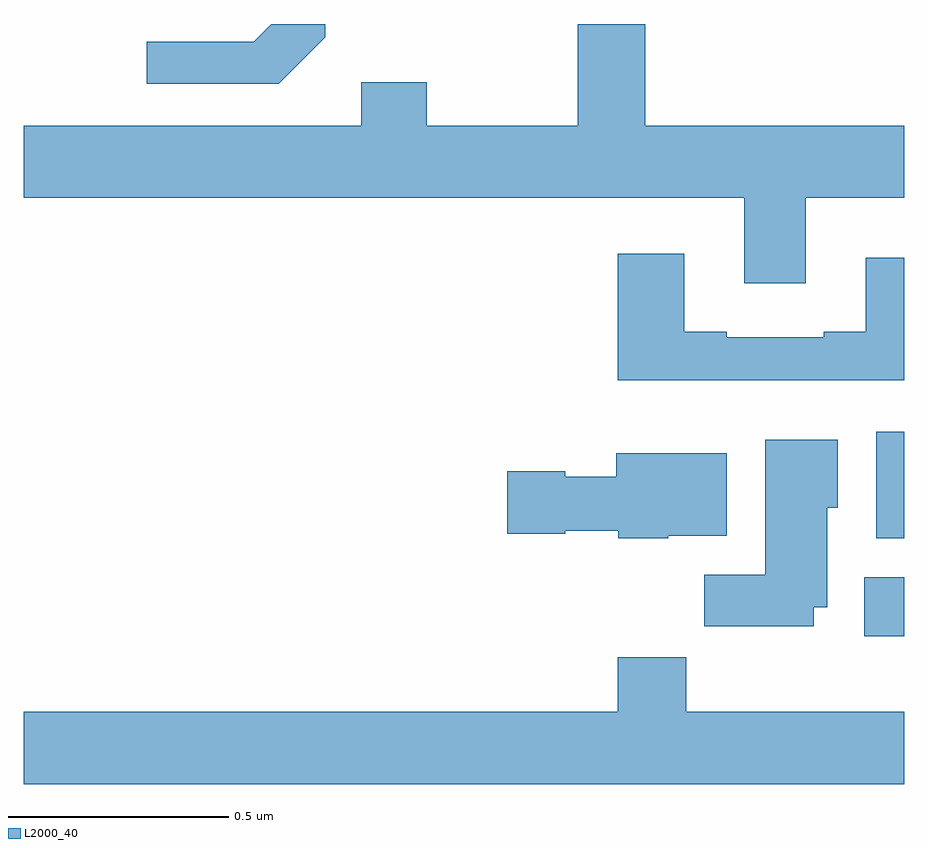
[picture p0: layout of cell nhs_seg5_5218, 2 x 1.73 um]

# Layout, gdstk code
import gdstk
lib = gdstk.Library(unit=1e-6, precision=1e-09)
def R(c, l, rs):  # rectangles x0, y0, x1, y1
    for r in rs: c.add(gdstk.rectangle(r[:2], r[2:], *l))
def P(c, l, *ps):  # polygons
    for p in ps: c.add(gdstk.Polygon(p, *l))
L2000_40 = (2000, 40)

nhs_seg5_5218 = lib.new_cell('nhs_seg5_5218')
R(nhs_seg5_5218, L2000_40, [(181.91,878.408,182,878.542), (181.937,878.63,182,878.872)])
P(nhs_seg5_5218, L2000_40, [(181.777,879.404),(182,879.404),(182,879.568),(181.412,879.568),(181.412,879.799),(181.259,879.799),(181.259,879.568),(180.915,879.568),(180.915,879.667),(180.767,879.667),(180.767,879.568),(180,879.568),(180,879.404),(181.637,879.404),(181.637,879.21),(181.777,879.21)],
  [(180.685,879.769),(180.685,879.799),(180.562,879.799),(180.522,879.759),(180.279,879.759),(180.279,879.663),(180.579,879.663)],
  [(182,879.268),(181.913,879.268),(181.913,879.1),(181.817,879.1),(181.817,879.087),(181.597,879.087),(181.597,879.1),(181.501,879.1),(181.501,879.277),(181.349,879.277),(181.349,878.99),(182,878.99)],
  [(181.795,878.474),(181.825,878.474),(181.825,878.7),(181.849,878.7),(181.849,878.854),(181.685,878.854),(181.685,878.548),(181.546,878.548),(181.546,878.43),(181.795,878.43)],
  [(181.464,878.636),(181.597,878.636),(181.597,878.824),(181.346,878.824),(181.346,878.77),(181.23,878.77),(181.23,878.783),(181.098,878.783),(181.098,878.641),(181.23,878.641),(181.23,878.648),(181.35,878.648),(181.35,878.63),(181.464,878.63)],
  [(182,878.236),(181.505,878.236),(181.505,878.36),(181.349,878.36),(181.349,878.236),(180,878.236),(180,878.072),(182,878.072)])

lib.write_gds('nhs_seg5_5218.gds')
